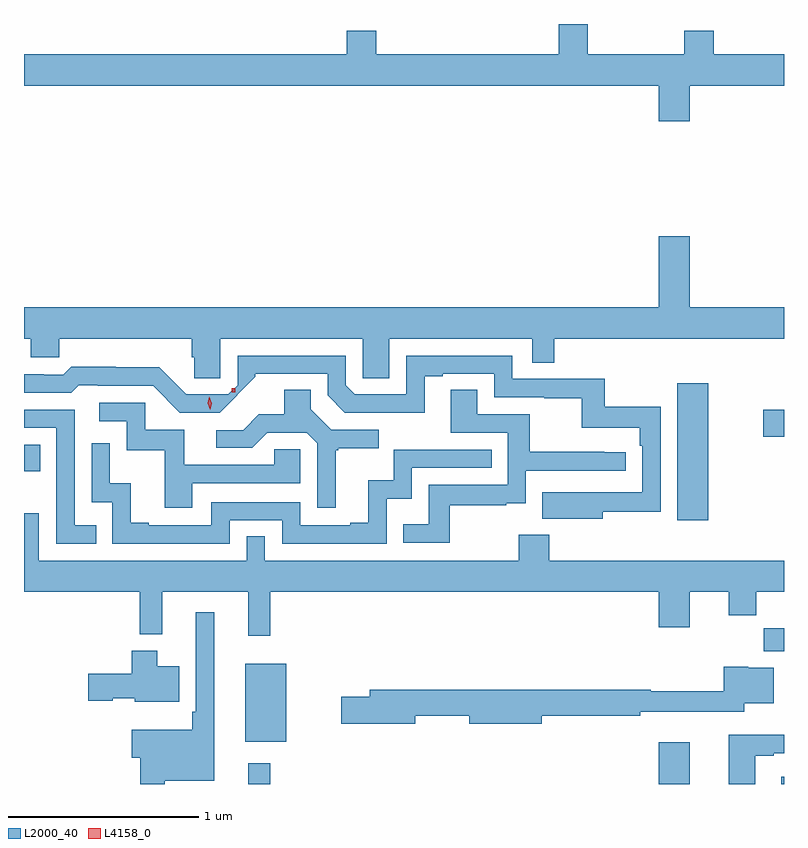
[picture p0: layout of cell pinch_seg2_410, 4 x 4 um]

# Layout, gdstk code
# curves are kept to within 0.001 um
import gdstk
lib = gdstk.Library(unit=1e-6, precision=1e-09)
def R(c, l, rs):  # rectangles x0, y0, x1, y1
    for r in rs: c.add(gdstk.rectangle(r[:2], r[2:], *l))
def P(c, l, *ps):  # polygons
    for p in ps: c.add(gdstk.Polygon(p, *l))
L2000_40 = (2000, 40)
L4158_0 = (4158, 0)

pinch_seg2_410 = lib.new_cell('pinch_seg2_410')
R(pinch_seg2_410, L2000_40, [(1002.008,618.652,1002.125,618.76), (1004.168,618.652,1004.332,618.871), (1004.813,618.652,1004.828,618.691), (1001.993,618.875,1002.208,619.285), (1004.722,619.352,1004.828,619.471), (1004.267,620.04,1004.428,620.761), (1000.828,620.297,1000.913,620.437), (1004.718,620.48,1004.828,620.622)])
P(pinch_seg2_410, L2000_40, [(1004.332,622.328),(1004.828,622.328),(1004.828,622.492),(1004.459,622.492),(1004.459,622.616),(1004.303,622.616),(1004.303,622.492),(1003.796,622.492),(1003.796,622.652),(1003.643,622.652),(1003.643,622.492),(1002.683,622.492),(1002.683,622.616),(1002.527,622.616),(1002.527,622.492),(1000.828,622.492),(1000.828,622.328),(1004.168,622.328),(1004.168,622.14),(1004.332,622.14)],
  [(1001.862,620.996),(1002.612,620.996),(1002.612,620.788),(1002.751,620.788),(1002.751,620.996),(1003.503,620.996),(1003.503,620.869),(1003.619,620.869),(1003.619,620.996),(1004.828,620.996),(1004.828,621.16),(1004.332,621.16),(1004.332,621.535),(1004.168,621.535),(1004.168,621.16),(1000.828,621.16),(1000.828,620.996),(1000.863,620.996),(1000.863,620.898),(1001.013,620.898),(1001.013,620.996),(1001.711,620.996),(1001.711,620.898),(1001.724,620.898),(1001.724,620.788),(1001.862,620.788)],
  [(1003.873,620.086),(1004.178,620.086),(1004.178,620.638),(1003.885,620.638),(1003.885,620.784),(1003.398,620.784),(1003.398,620.907),(1002.84,620.907),(1002.84,620.703),(1002.57,620.703),(1002.522,620.751),(1002.522,620.907),(1001.953,620.907),(1001.953,620.752),(1001.904,620.703),(1001.682,620.703),(1001.54,620.845),(1001.31,620.845),(1001.31,620.848),(1001.077,620.848),(1001.035,620.805),(1000.932,620.805),(1000.932,620.808),(1000.828,620.808),(1000.828,620.712),(1001.077,620.712),(1001.116,620.751),(1001.215,620.751),(1001.215,620.748),(1001.508,620.748),(1001.649,620.607),(1001.857,620.607),(1002.045,620.795),(1002.045,620.811),(1002.426,620.811),(1002.426,620.697),(1002.516,620.607),(1002.937,620.606),(1002.937,620.799),(1003.033,620.799),(1003.033,620.811),(1003.302,620.811),(1003.302,620.688),(1003.567,620.688),(1003.567,620.683),(1003.764,620.683),(1003.764,620.528),(1004.069,620.528),(1004.069,620.432),(1004.082,620.432),(1004.082,620.187),(1003.555,620.188),(1003.555,620.048),(1003.873,620.048)],
  [(1002.469,620.409),(1002.481,620.409),(1002.481,620.42),(1002.694,620.42),(1002.694,620.517),(1002.444,620.517),(1002.337,620.624),(1002.337,620.726),(1002.197,620.726),(1002.197,620.597),(1002.064,620.597),(1001.981,620.514),(1001.841,620.514),(1001.841,620.421),(1002.028,620.421),(1002.109,620.502),(1002.315,620.502),(1002.372,620.445),(1002.372,620.106),(1002.469,620.106)],
  [(1003.069,620.118),(1003.367,620.118),(1003.367,620.129),(1003.47,620.129),(1003.47,620.301),(1003.996,620.301),(1003.996,620.397),(1003.883,620.397),(1003.883,620.402),(1003.49,620.402),(1003.49,620.598),(1003.213,620.598),(1003.213,620.726),(1003.073,620.726),(1003.073,620.502),(1003.374,620.502),(1003.374,620.226),(1002.958,620.226),(1002.958,620.02),(1002.823,620.02),(1002.823,619.923),(1003.069,619.923)],
  [(1001.713,620.235),(1002.282,620.235),(1002.282,620.415),(1002.145,620.415),(1002.145,620.331),(1001.671,620.331),(1001.671,620.517),(1001.466,620.517),(1001.466,620.658),(1001.223,620.658),(1001.223,620.562),(1001.37,620.562),(1001.37,620.409),(1001.569,620.409),(1001.569,620.106),(1001.713,620.106)],
  [(1001.207,620.013),(1001.094,620.013),(1001.094,620.622),(1000.828,620.622),(1000.828,620.526),(1000.998,620.526),(1000.998,619.917),(1001.207,619.917)],
  [(1001.91,620.04),(1002.186,620.04),(1002.186,619.917),(1002.738,619.917),(1002.738,620.153),(1002.87,620.153),(1002.87,620.316),(1003.289,620.316),(1003.289,620.412),(1002.774,620.412),(1002.774,620.251),(1002.641,620.251),(1002.641,620.026),(1002.545,620.026),(1002.545,620.013),(1002.282,620.013),(1002.282,620.136),(1001.814,620.136),(1001.814,620.013),(1001.485,620.013),(1001.485,620.026),(1001.39,620.026),(1001.39,620.234),(1001.28,620.234),(1001.28,620.446),(1001.184,620.446),(1001.184,620.136),(1001.292,620.136),(1001.292,619.917),(1001.91,619.917)],
  [(1002.125,619.664),(1004.168,619.664),(1004.168,619.476),(1004.332,619.476),(1004.332,619.664),(1004.537,619.664),(1004.537,619.54),(1004.681,619.54),(1004.681,619.664),(1004.828,619.664),(1004.828,619.828),(1003.592,619.828),(1003.592,619.963),(1003.432,619.963),(1003.432,619.828),(1002.096,619.828),(1002.096,619.955),(1002,619.955),(1002,619.828),(1000.905,619.828),(1000.905,620.077),(1000.828,620.077),(1000.828,619.664),(1001.437,619.664),(1001.437,619.439),(1001.555,619.439),(1001.555,619.664),(1002.008,619.664),(1002.008,619.431),(1002.125,619.431)],
  [(1001.569,618.668),(1001.83,618.668),(1001.83,619.555),(1001.733,619.555),(1001.733,619.033),(1001.713,619.033),(1001.713,618.937),(1001.396,618.937),(1001.396,618.79),(1001.44,618.79),(1001.44,618.652),(1001.569,618.652)],
  [(1001.644,619.273),(1001.53,619.273),(1001.53,619.354),(1001.396,619.354),(1001.396,619.233),(1001.166,619.233),(1001.166,619.091),(1001.295,619.091),(1001.295,619.103),(1001.412,619.103),(1001.412,619.085),(1001.644,619.085)],
  [(1002.886,619.012),(1003.172,619.012),(1003.172,618.97),(1003.552,618.97),(1003.552,619.012),(1004.072,619.012),(1004.072,619.031),(1004.619,619.031),(1004.619,619.076),(1004.773,619.076),(1004.773,619.264),(1004.64,619.264),(1004.64,619.27),(1004.511,619.27),(1004.511,619.141),(1004.126,619.141),(1004.126,619.148),(1002.647,619.148),(1002.647,619.112),(1002.498,619.112),(1002.498,618.97),(1002.886,618.97)],
  [(1004.677,618.801),(1004.773,618.801),(1004.773,618.813),(1004.828,618.813),(1004.828,618.91),(1004.537,618.91),(1004.537,618.652),(1004.677,618.652)])
R(pinch_seg2_410, L4158_0, [(1001.921,620.714,1001.941,620.734)])
P(pinch_seg2_410, L4158_0, [(1001.807,620.621),(1001.807,620.621),(1001.796,620.655),(1001.804,620.691),(1001.804,620.691),(1001.804,620.691),(1001.816,620.656),(1001.808,620.621)])

lib.write_gds('pinch_seg2_410.gds')
